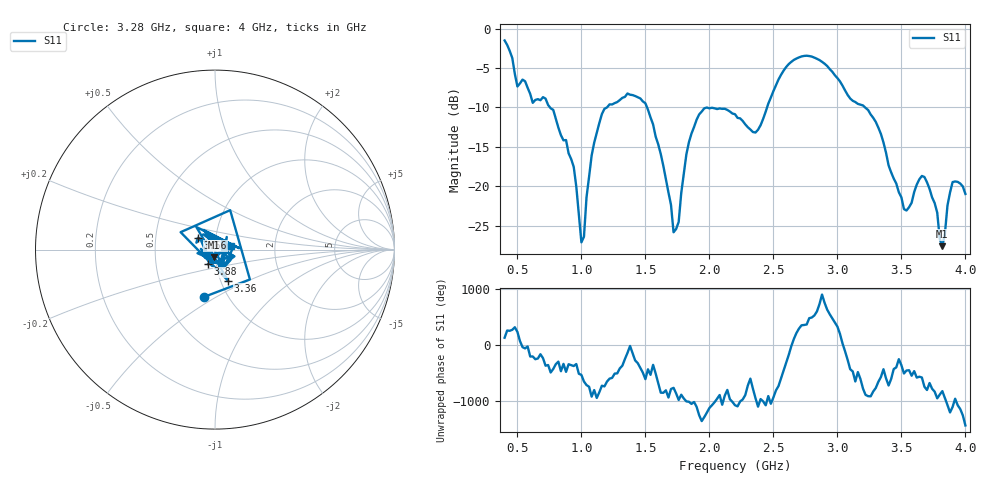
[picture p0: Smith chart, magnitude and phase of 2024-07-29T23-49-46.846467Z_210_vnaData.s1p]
!Created with skrf (http://scikit-rf.org).
# Hz S RI R 50.0
!freq ReS11 ImS11
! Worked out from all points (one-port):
!   181 points, 400 MHz to 4 GHz, reference 50 ohm
!   lowest |S11| = -27.6 dB at 3.82 GHz (marker M1), VSWR 1.09, Z = 49.3 - j4.08 ohm
!   |S11| at or under -10 dB: 755.1 MHz to 1.199 GHz (443.9 MHz wide, 45.4 % of centre); 1.513 GHz to 2.45 GHz (937.2 MHz wide, 47.3 % of centre); 3.217 GHz to end of sweep
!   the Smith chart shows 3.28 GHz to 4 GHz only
!   S11 on the Smith chart (normalised r, x): 3.28 GHz: 0.77, -0.44; 3.36 GHz: 1.09, -0.39; 3.66 GHz: 0.82, +0.11; 3.88 GHz: 0.91, -0.15; 4 GHz: 1.19, +0.04
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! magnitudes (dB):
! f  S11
! 400 MHz  -1.5
! 500 MHz  -7.3
! 720 MHz  -8.9
! 860 MHz  -14.2
! 940 MHz  -17.5
! 1 GHz  -27.1
! 1.08 GHz  -16.1
! 1.14 GHz  -12.0
! 1.3 GHz  -9.1
! 1.5 GHz  -9.5
! 1.62 GHz  -15.9
! 1.72 GHz  -25.8
! 1.76 GHz  -24.5
! 1.82 GHz  -16.0
! 1.92 GHz  -10.9
! 2.2 GHz  -10.9
! 2.36 GHz  -13.2
! 2.66 GHz  -4.0
! 2.88 GHz  -4.2
! 3.1 GHz  -8.9
! 3.28 GHz  -11.3
! 3.36 GHz  -14.4
! 3.56 GHz  -22.7
! 3.66 GHz  -18.7
! 3.76 GHz  -22.1
! 3.82 GHz  -27.6
! 3.88 GHz  -20.8
! 4 GHz  -21.0
